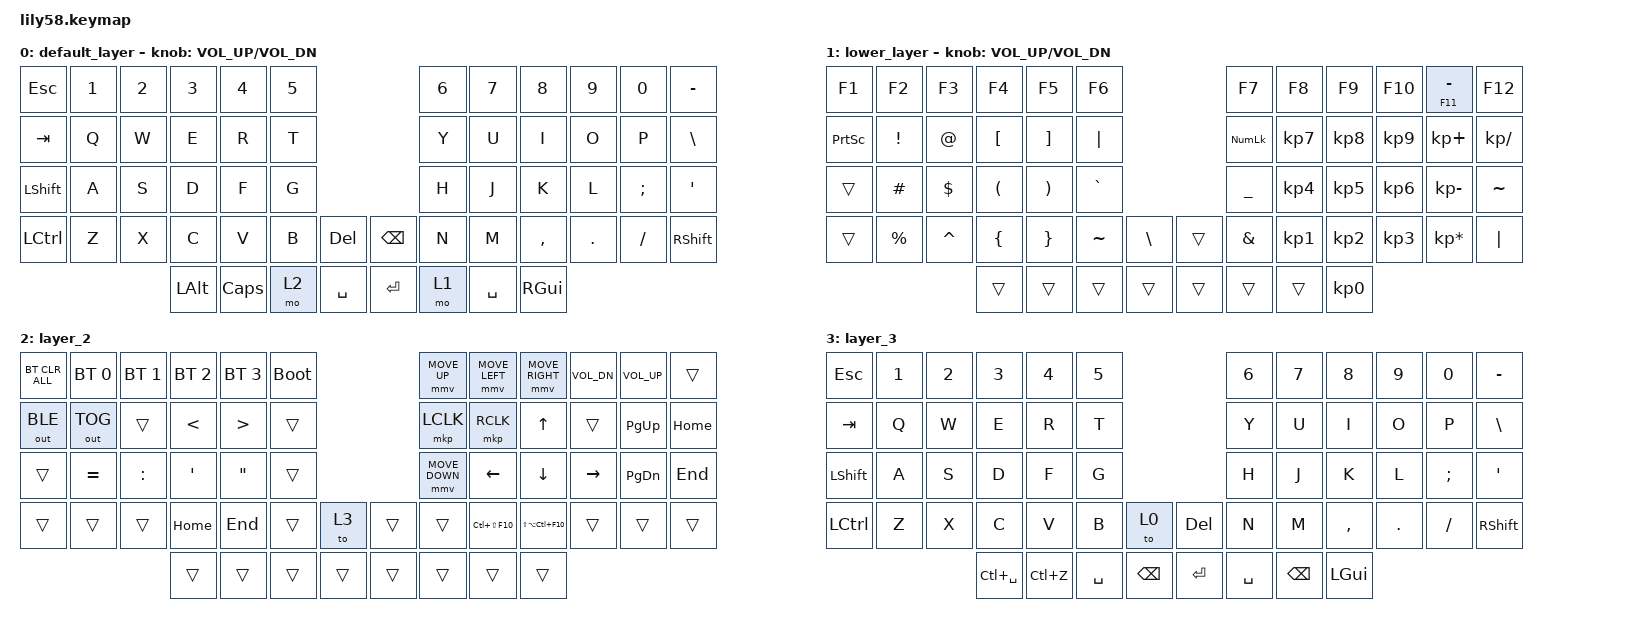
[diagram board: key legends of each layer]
/*
 * Copyright (c) 2020 The ZMK Contributors
 *
 * SPDX-License-Identifier: MIT
 */

#include <behaviors.dtsi>
#include <dt-bindings/zmk/bt.h>
#include <dt-bindings/zmk/keys.h>
#include <dt-bindings/zmk/outputs.h>
#include <dt-bindings/zmk/pointing.h>

/ {
    behaviors {
        ht_tp: ht_tp {
            compatible = "zmk,behavior-hold-tap";
            label = "HT_TP";
            bindings = <&kp>, <&kp>;

            #binding-cells = <2>;
            tapping-term-ms = <150>;
            flavor = "tap-preferred";
            hold-trigger-key-positions = <25 26 27 28 31 32 33 34>;
        };
    };

    keymap {
        compatible = "zmk,keymap";

        default_layer {
            // ------------------------------------------------------------------------------------------------------------
            // |  ESC  |  1  |  2  |  3   |  4   |  5   |                   |  6   |  7    |  8    |  9   |   0   |   `   |
            // |  TAB  |  Q  |  W  |  E   |  R   |  T   |                   |  Y   |  U    |  I    |  O   |   P   |   -   |
            // |  CTRL |  A  |  S  |  D   |  F   |  G   |                   |  H   |  J    |  K    |  L   |   ;   |   '   |
            // | SHIFT |  Z  |  X  |  C   |  V   |  B   |   "["  |  |  "]"  |  N   |  M    |  ,    |  .   |   /   | SHIFT |
            //                     | ALT  | GUI  | LOWER|  SPACE |  | ENTER | RAISE| BSPC  | GUI   |

            bindings = <
&kp ESC           &kp N1  &kp N2  &kp N3        &kp N4    &kp N5                            &kp N6  &kp N7     &kp N8     &kp N9   &kp N0         &kp MINUS
&kp TAB           &kp Q   &kp W   &kp E         &kp R     &kp T                             &kp Y   &kp U      &kp I      &kp O    &kp P          &kp BACKSLASH
&kp LSHFT         &kp A   &kp S   &kp D         &kp F     &kp G                             &kp H   &kp J      &kp K      &kp L    &kp SEMICOLON  &kp SQT
&kp LEFT_CONTROL  &kp Z   &kp X   &kp C         &kp V     &kp B   &kp DEL    &kp BACKSPACE  &kp N   &kp M      &kp COMMA  &kp DOT  &kp FSLH       &kp RSHFT
                                  &kp LEFT_ALT  &kp CAPS  &mo 2   &kp SPACE  &kp ENTER      &mo 1   &kp SPACE  &kp RGUI
            >;

            sensor-bindings = <&inc_dec_kp C_VOL_UP C_VOL_DN>;
        };

        lower_layer {
            // ------------------------------------------------------------------------------------------------------------
            // | BTCLR | BT1 | BT2 |  BT3 |  BT4 |  BT5 |                   |      |       |       |      |       |       |
            // |  F1   |  F2 |  F3 |  F4  |  F5  |  F6  |                   |  F7  |  F8   |  F9   |  F10 |  F11  |  F12  |
            // |   `   |  !  |  @  |  #   |  $   |  %   |                   |  ^   |  &    |  *    |  (   |   )   |   ~   |
            // |       |     |     |      |      |      |        |  |       |      |  _    |  +    |  {   |   }   |  "|"  |
            //                     |      |      |      |        |  |       |      |       |       |

            bindings = <
&kp F1           &kp F2       &kp F3      &kp F4                &kp F5                 &kp F6                            &kp F7          &kp F8           &kp F9           &kp F10          &ht_tp F11 MINUS  &kp F12
&kp PRINTSCREEN  &kp EXCL     &kp AT      &kp LBKT              &kp RBKT               &kp PIPE                          &kp KP_NUMLOCK  &kp KP_NUMBER_7  &kp KP_NUMBER_8  &kp KP_NUMBER_9  &kp KP_PLUS       &kp KP_DIVIDE
&trans           &kp HASH     &kp DOLLAR  &kp LEFT_PARENTHESIS  &kp RIGHT_PARENTHESIS  &kp GRAVE                         &kp UNDER       &kp KP_NUMBER_4  &kp KP_NUMBER_5  &kp KP_NUMBER_6  &kp KP_MINUS      &kp TILDE
&trans           &kp PERCENT  &kp CARET   &kp LBRC              &kp RBRC               &kp TILDE  &kp BACKSLASH  &trans  &kp AMPERSAND   &kp KP_NUMBER_1  &kp KP_NUMBER_2  &kp KP_NUMBER_3  &kp KP_MULTIPLY   &kp PIPE
                                          &trans                &trans                 &trans     &trans         &trans  &trans          &trans           &kp KP_NUMBER_0
            >;

            sensor-bindings = <&inc_dec_kp C_VOL_UP C_VOL_DN>;
        };

        layer_2 {
            bindings = <
&bt BT_CLR_ALL  &bt BT_SEL 0  &bt BT_SEL 1  &bt BT_SEL 2      &bt BT_SEL 3       &bootloader                  &mmv MOVE_UP    &mmv MOVE_LEFT   &mmv MOVE_RIGHT      &kp C_VOL_DN  &kp C_VOL_UP   &trans
&out OUT_BLE    &out OUT_TOG  &trans        &kp LT            &kp GT             &trans                       &mkp LCLK       &mkp RCLK        &kp UP               &trans        &kp PAGE_UP    &kp HOME
&trans          &kp EQUAL     &kp COLON     &kp SINGLE_QUOTE  &kp DOUBLE_QUOTES  &trans                       &mmv MOVE_DOWN  &kp LEFT         &kp DOWN             &kp RIGHT     &kp PAGE_DOWN  &kp END
&trans          &trans        &trans        &kp HOME          &kp END            &trans       &to 3   &trans  &trans          &kp LC(LS(F10))  &kp LS(LA(LC(F10)))  &trans        &trans         &trans
                                            &trans            &trans             &trans       &trans  &trans  &trans          &trans           &trans
            >;
        };

        layer_3 {
            bindings = <
&kp ESC           &kp N1  &kp N2  &kp N3         &kp N4     &kp N5                        &kp N6     &kp N7    &kp N8     &kp N9   &kp N0    &kp MINUS
&kp TAB           &kp Q   &kp W   &kp E          &kp R      &kp T                         &kp Y      &kp U     &kp I      &kp O    &kp P     &kp BSLH
&kp LSHFT         &kp A   &kp S   &kp D          &kp F      &kp G                         &kp H      &kp J     &kp K      &kp L    &kp SEMI  &kp SQT
&kp LEFT_CONTROL  &kp Z   &kp X   &kp C          &kp V      &kp B      &to 0     &kp DEL  &kp N      &kp M     &kp COMMA  &kp DOT  &kp FSLH  &kp RSHFT
                                  &kp LC(SPACE)  &kp LC(Z)  &kp SPACE  &kp BSPC  &kp RET  &kp SPACE  &kp BSPC  &kp LGUI
            >;
        };
    };
};
